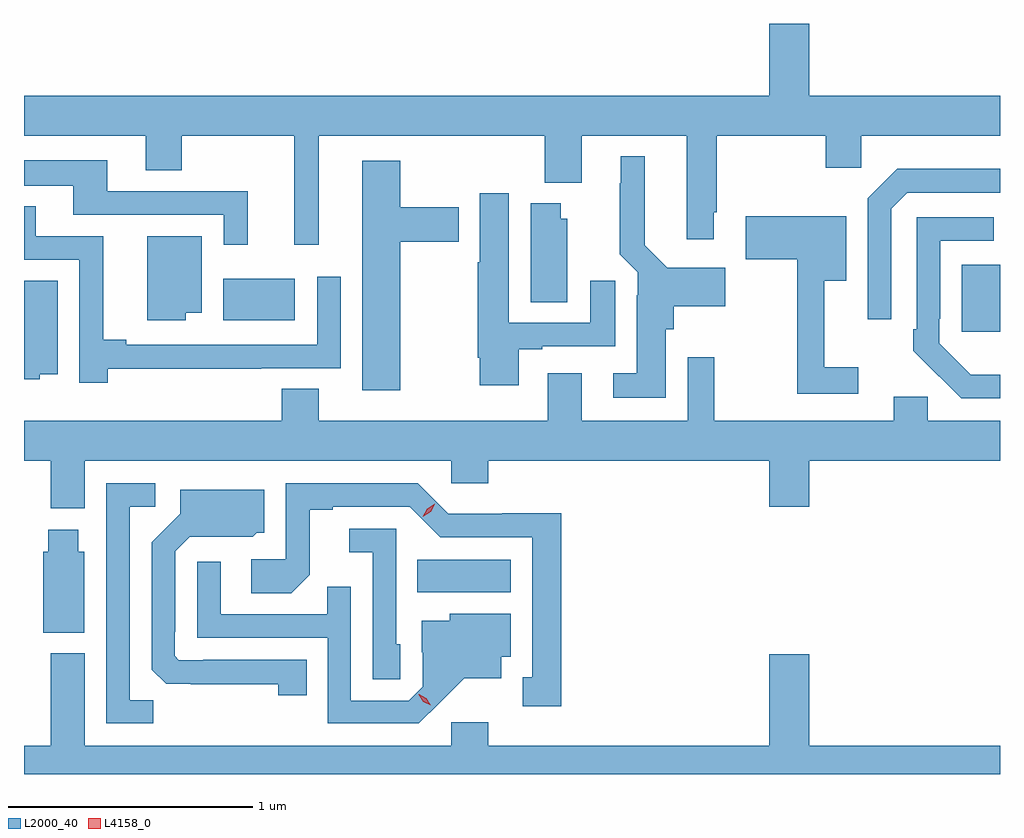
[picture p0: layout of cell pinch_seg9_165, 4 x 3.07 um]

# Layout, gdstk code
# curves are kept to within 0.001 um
import gdstk
lib = gdstk.Library(unit=1e-6, precision=1e-09)
def R(c, l, rs):  # rectangles x0, y0, x1, y1
    for r in rs: c.add(gdstk.rectangle(r[:2], r[2:], *l))
def P(c, l, *ps):  # polygons
    for p in ps: c.add(gdstk.Polygon(p, *l))
L2000_40 = (2000, 40)
L4158_0 = (4158, 0)

pinch_seg9_165 = lib.new_cell('pinch_seg9_165')
R(pinch_seg9_165, L2000_40, [(691.036,1165.244,691.42,1165.378), (693.269,1166.313,693.425,1166.587), (690.242,1166.36,690.535,1166.53)])
P(pinch_seg9_165, L2000_40, [(690.632,1167.116),(691.559,1167.116),(691.559,1166.924),(691.711,1166.924),(691.711,1167.116),(692.141,1167.116),(692.141,1166.691),(692.251,1166.691),(692.251,1166.803),(692.264,1166.803),(692.264,1167.116),(692.71,1167.116),(692.71,1166.985),(692.856,1166.985),(692.856,1167.116),(693.425,1167.116),(693.425,1167.28),(692.644,1167.28),(692.644,1167.574),(692.48,1167.574),(692.48,1167.28),(689.425,1167.28),(689.425,1167.116),(689.924,1167.116),(689.924,1166.974),(690.072,1166.974),(690.072,1167.116),(690.533,1167.116),(690.533,1166.67),(690.632,1166.67)],
  [(692.056,1166.322),(692.087,1166.322),(692.087,1166.417),(692.299,1166.417),(692.299,1166.575),(692.061,1166.575),(691.969,1166.668),(691.969,1167.031),(691.871,1167.031),(691.871,1166.921),(691.867,1166.921),(691.867,1166.63),(691.941,1166.556),(691.941,1166.462),(691.937,1166.462),(691.937,1166.143),(691.839,1166.143),(691.839,1166.042),(692.056,1166.042)],
  [(690.341,1166.889),(689.767,1166.889),(689.767,1167.016),(689.425,1167.016),(689.425,1166.912),(689.627,1166.912),(689.627,1166.793),(690.243,1166.793),(690.243,1166.67),(690.341,1166.67)],
  [(690.966,1166.681),(691.207,1166.681),(691.207,1166.823),(690.966,1166.823),(690.966,1167.013),(690.812,1167.013),(690.812,1166.073),(690.966,1166.073)],
  [(692.979,1166.817),(693.045,1166.883),(693.425,1166.883),(693.425,1166.98),(693.004,1166.98),(692.883,1166.859),(692.883,1166.364),(692.979,1166.364)],
  [(691.453,1166.241),(691.549,1166.241),(691.549,1166.253),(691.849,1166.253),(691.849,1166.521),(691.745,1166.521),(691.745,1166.349),(691.411,1166.349),(691.411,1166.881),(691.292,1166.881),(691.292,1166.597),(691.285,1166.597),(691.285,1166.206),(691.292,1166.206),(691.292,1166.094),(691.453,1166.094)],
  [(691.651,1166.775),(691.624,1166.775),(691.624,1166.839),(691.502,1166.839),(691.502,1166.434),(691.651,1166.434)],
  [(689.768,1166.162),(690.398,1166.162),(690.398,1166.163),(690.723,1166.163),(690.723,1166.539),(690.627,1166.539),(690.627,1166.259),(689.845,1166.259),(689.845,1166.279),(689.75,1166.279),(689.75,1166.703),(689.473,1166.703),(689.473,1166.827),(689.425,1166.827),(689.425,1166.607),(689.652,1166.607),(689.652,1166.103),(689.768,1166.103)],
  [(692.845,1166.167),(692.705,1166.167),(692.705,1166.522),(692.794,1166.522),(692.794,1166.787),(692.382,1166.787),(692.382,1166.609),(692.595,1166.609),(692.595,1166.058),(692.845,1166.058)],
  [(693.425,1166.136),(693.306,1166.137),(693.177,1166.265),(693.177,1166.365),(693.18,1166.365),(693.18,1166.685),(693.4,1166.685),(693.4,1166.781),(693.084,1166.781),(693.084,1166.323),(693.069,1166.323),(693.069,1166.235),(693.266,1166.04),(693.425,1166.04)],
  [(690.088,1166.39),(690.154,1166.39),(690.154,1166.704),(689.93,1166.704),(689.93,1166.36),(690.088,1166.36)],
  [(689.49,1166.138),(689.563,1166.138),(689.563,1166.522),(689.425,1166.522),(689.425,1166.117),(689.49,1166.117)],
  [(689.674,1165.784),(691.176,1165.784),(691.176,1165.691),(691.328,1165.691),(691.328,1165.784),(692.48,1165.784),(692.48,1165.596),(692.644,1165.596),(692.644,1165.784),(693.425,1165.784),(693.425,1165.948),(693.129,1165.948),(693.129,1166.046),(692.99,1166.046),(692.99,1165.948),(692.254,1165.948),(692.254,1166.209),(692.145,1166.209),(692.145,1165.948),(691.711,1165.948),(691.711,1166.143),(691.571,1166.143),(691.571,1165.948),(690.634,1165.948),(690.634,1166.078),(690.482,1166.078),(690.482,1165.948),(689.425,1165.948),(689.425,1165.784),(689.534,1165.784),(689.534,1165.59),(689.674,1165.59)],
  [(689.955,1164.803),(689.859,1164.803),(689.859,1165.596),(689.962,1165.596),(689.962,1165.692),(689.763,1165.692),(689.763,1164.708),(689.955,1164.708)],
  [(691.627,1165.568),(691.386,1165.568),(691.386,1165.566),(691.164,1165.566),(691.038,1165.692),(690.498,1165.692),(690.498,1165.38),(690.357,1165.38),(690.357,1165.24),(690.521,1165.24),(690.597,1165.316),(690.597,1165.584),(690.691,1165.584),(690.691,1165.596),(691.005,1165.596),(691.131,1165.47),(691.508,1165.47),(691.508,1164.897),(691.469,1164.897),(691.469,1164.777),(691.627,1164.777)],
  [(690.584,1164.969),(690.16,1164.969),(690.16,1164.966),(690.06,1164.966),(690.042,1164.984),(690.042,1165.084),(690.045,1165.084),(690.045,1165.413),(690.105,1165.473),(690.362,1165.472),(690.378,1165.488),(690.409,1165.488),(690.409,1165.666),(690.065,1165.666),(690.065,1165.566),(689.949,1165.45),(689.949,1164.928),(690.008,1164.869),(690.466,1164.868),(690.466,1164.822),(690.584,1164.822)],
  [(690.966,1165.032),(690.951,1165.032),(690.951,1165.506),(690.759,1165.506),(690.759,1165.409),(690.855,1165.409),(690.855,1164.889),(690.966,1164.889)],
  [(689.671,1165.41),(689.647,1165.41),(689.647,1165.501),(689.525,1165.501),(689.525,1165.41),(689.504,1165.41),(689.504,1165.079),(689.671,1165.079)],
  [(691.126,1164.791),(691.229,1164.893),(691.381,1164.893),(691.381,1164.98),(691.42,1164.98),(691.42,1165.156),(691.17,1165.156),(691.17,1165.129),(691.055,1165.129),(691.055,1165),(691.059,1165),(691.059,1164.858),(691.002,1164.801),(690.765,1164.801),(690.765,1165.268),(690.667,1165.268),(690.667,1165.155),(690.231,1165.155),(690.231,1165.369),(690.135,1165.369),(690.135,1165.059),(690.669,1165.059),(690.669,1164.708),(691.042,1164.708)],
  [(693.425,1164.616),(692.644,1164.616),(692.644,1164.991),(692.48,1164.991),(692.48,1164.616),(691.328,1164.616),(691.328,1164.712),(691.176,1164.712),(691.176,1164.616),(689.674,1164.616),(689.674,1164.994),(689.534,1164.994),(689.534,1164.616),(689.425,1164.616),(689.425,1164.5),(693.425,1164.5)])
P(pinch_seg9_165, L4158_0, [(691.06,1165.554),(691.06,1165.555),(691.077,1165.587),(691.108,1165.607),(691.109,1165.607),(691.109,1165.606),(691.092,1165.574),(691.06,1165.554)],
  [(691.091,1164.781),(691.061,1164.796),(691.043,1164.825),(691.043,1164.826),(691.044,1164.826),(691.074,1164.811),(691.092,1164.782),(691.092,1164.781)])

lib.write_gds('pinch_seg9_165.gds')
